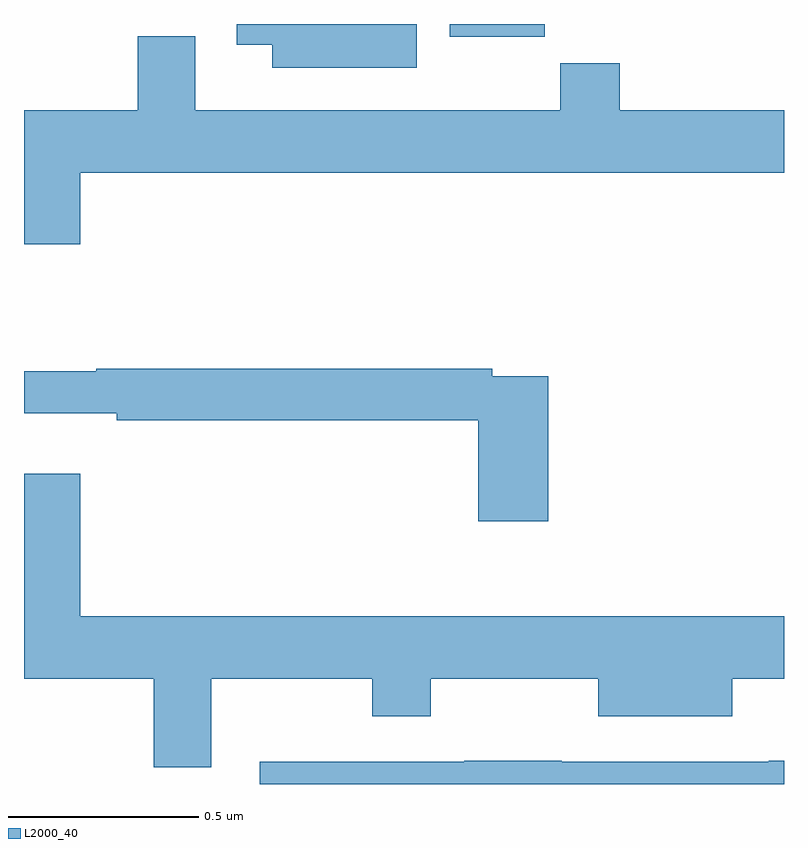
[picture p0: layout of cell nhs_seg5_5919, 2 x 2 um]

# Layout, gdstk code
import gdstk
lib = gdstk.Library(unit=1e-6, precision=1e-09)
def R(c, l, rs):  # rectangles x0, y0, x1, y1
    for r in rs: c.add(gdstk.rectangle(r[:2], r[2:], *l))
def P(c, l, *ps):  # polygons
    for p in ps: c.add(gdstk.Polygon(p, *l))
L2000_40 = (2000, 40)

nhs_seg5_5919 = lib.new_cell('nhs_seg5_5919')
R(nhs_seg5_5919, L2000_40, [(190.121,875.766,190.37,875.799)])
P(nhs_seg5_5919, L2000_40, [(190.033,875.799),(189.56,875.799),(189.56,875.744),(189.653,875.744),(189.653,875.684),(190.033,875.684)],
  [(189.148,875.408),(191,875.408),(191,875.572),(190.568,875.572),(190.568,875.696),(190.411,875.696),(190.411,875.572),(189.451,875.572),(189.451,875.767),(189.299,875.767),(189.299,875.572),(189,875.572),(189,875.22),(189.148,875.22)],
  [(190.379,874.872),(190.232,874.872),(190.232,874.892),(189.19,874.892),(189.19,874.885),(189,874.885),(189,874.775),(189.244,874.775),(189.244,874.756),(190.196,874.756),(190.196,874.491),(190.379,874.491)],
  [(189.493,874.076),(189.916,874.076),(189.916,873.977),(190.071,873.977),(190.071,874.076),(190.511,874.076),(190.511,873.977),(190.864,873.977),(190.864,874.076),(191,874.076),(191,874.24),(189.148,874.24),(189.148,874.615),(189,874.615),(189,874.076),(189.341,874.076),(189.341,873.843),(189.493,873.843)],
  [(191,873.86),(190.96,873.86),(190.96,873.858),(190.415,873.858),(190.415,873.86),(190.159,873.86),(190.159,873.858),(189.621,873.858),(189.621,873.799),(191,873.799)])

lib.write_gds('nhs_seg5_5919.gds')
